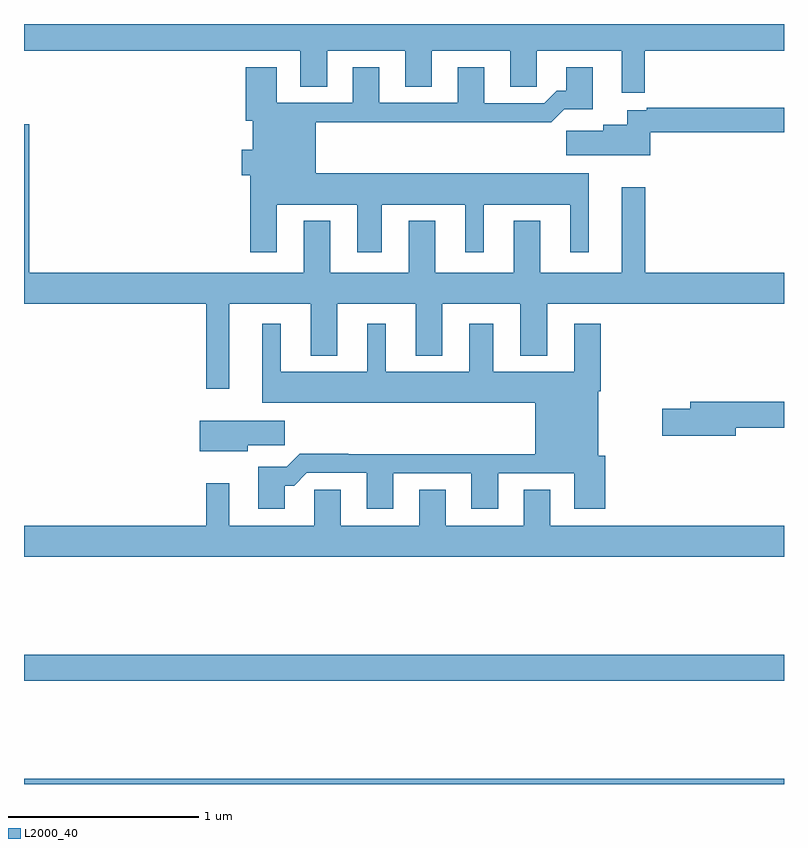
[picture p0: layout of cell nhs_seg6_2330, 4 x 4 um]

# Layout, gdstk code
import gdstk
lib = gdstk.Library(unit=1e-6, precision=1e-09)
def R(c, l, rs):  # rectangles x0, y0, x1, y1
    for r in rs: c.add(gdstk.rectangle(r[:2], r[2:], *l))
def P(c, l, *ps):  # polygons
    for p in ps: c.add(gdstk.Polygon(p, *l))
L2000_40 = (2000, 40)

nhs_seg6_2330 = lib.new_cell('nhs_seg6_2330')
R(nhs_seg6_2330, L2000_40, [(251,919.5,255,919.528), (251,920.044,255,920.18)])
P(nhs_seg6_2330, L2000_40, [(251,923.36),(252.455,923.36),(252.455,923.17),(252.595,923.17),(252.595,923.36),(253.007,923.36),(253.007,923.17),(253.147,923.17),(253.147,923.36),(253.559,923.36),(253.559,923.17),(253.698,923.17),(253.698,923.36),(254.147,923.36),(254.147,923.139),(254.268,923.139),(254.268,923.36),(255,923.36),(255,923.5),(251,923.5)],
  [(252.331,922.55),(252.755,922.55),(252.755,922.299),(252.883,922.299),(252.883,922.55),(253.322,922.55),(253.322,922.299),(253.42,922.299),(253.42,922.55),(253.874,922.55),(253.874,922.299),(253.972,922.299),(253.972,922.714),(252.535,922.714),(252.535,922.984),(253.519,922.984),(253.519,922.982),(253.775,922.982),(253.844,923.051),(253.993,923.051),(253.993,923.272),(253.853,923.272),(253.853,923.149),(253.804,923.149),(253.737,923.082),(253.423,923.082),(253.423,923.272),(253.283,923.272),(253.283,923.085),(252.871,923.085),(252.871,923.272),(252.731,923.272),(252.731,923.085),(252.331,923.085),(252.331,923.272),(252.167,923.272),(252.167,922.992),(252.203,922.992),(252.203,922.837),(252.146,922.837),(252.146,922.703),(252.191,922.703),(252.191,922.299),(252.331,922.299)],
  [(254.297,922.93),(255,922.93),(255,923.059),(254.38,923.059),(254.38,923.058),(254.278,923.058),(254.278,923.046),(254.174,923.046),(254.174,922.969),(254.048,922.969),(254.048,922.937),(253.854,922.937),(253.854,922.808),(254.297,922.808)],
  [(252.079,922.028),(252.509,922.028),(252.509,921.755),(252.649,921.755),(252.649,922.028),(253.061,922.028),(253.061,921.755),(253.201,921.755),(253.201,922.028),(253.613,922.028),(253.613,921.755),(253.753,921.755),(253.753,922.028),(255,922.028),(255,922.192),(254.269,922.192),(254.269,922.642),(254.147,922.642),(254.147,922.192),(253.717,922.192),(253.717,922.465),(253.577,922.465),(253.577,922.192),(253.165,922.192),(253.165,922.465),(253.025,922.465),(253.025,922.192),(252.613,922.192),(252.613,922.465),(252.473,922.465),(252.473,922.192),(251.027,922.192),(251.027,922.972),(251,922.972),(251,922.028),(251.958,922.028),(251.958,921.579),(252.079,921.579)],
  [(252.373,921.071),(252.422,921.071),(252.489,921.138),(252.803,921.138),(252.803,920.949),(252.943,920.949),(252.943,921.135),(253.355,921.135),(253.355,920.949),(253.495,920.949),(253.495,921.135),(253.895,921.135),(253.895,920.949),(254.06,920.949),(254.06,921.228),(254.023,921.228),(254.023,921.566),(254.036,921.566),(254.036,921.922),(253.895,921.922),(253.895,921.67),(253.471,921.67),(253.471,921.922),(253.343,921.922),(253.343,921.67),(252.904,921.67),(252.904,921.922),(252.806,921.922),(252.806,921.67),(252.352,921.67),(252.352,921.922),(252.254,921.922),(252.254,921.506),(253.691,921.506),(253.691,921.236),(252.707,921.236),(252.707,921.239),(252.452,921.239),(252.382,921.169),(252.233,921.169),(252.233,920.949),(252.373,920.949)],
  [(254.746,921.376),(255,921.376),(255,921.512),(254.507,921.512),(254.507,921.476),(254.358,921.476),(254.358,921.334),(254.746,921.334)],
  [(252.178,921.283),(252.373,921.283),(252.373,921.412),(251.924,921.412),(251.924,921.251),(252.178,921.251)],
  [(255,920.86),(253.771,920.86),(253.771,921.05),(253.631,921.05),(253.631,920.86),(253.219,920.86),(253.219,921.05),(253.079,921.05),(253.079,920.86),(252.667,920.86),(252.667,921.05),(252.528,921.05),(252.528,920.86),(252.079,920.86),(252.079,921.082),(251.958,921.082),(251.958,920.86),(251,920.86),(251,920.696),(255,920.696)])

lib.write_gds('nhs_seg6_2330.gds')
